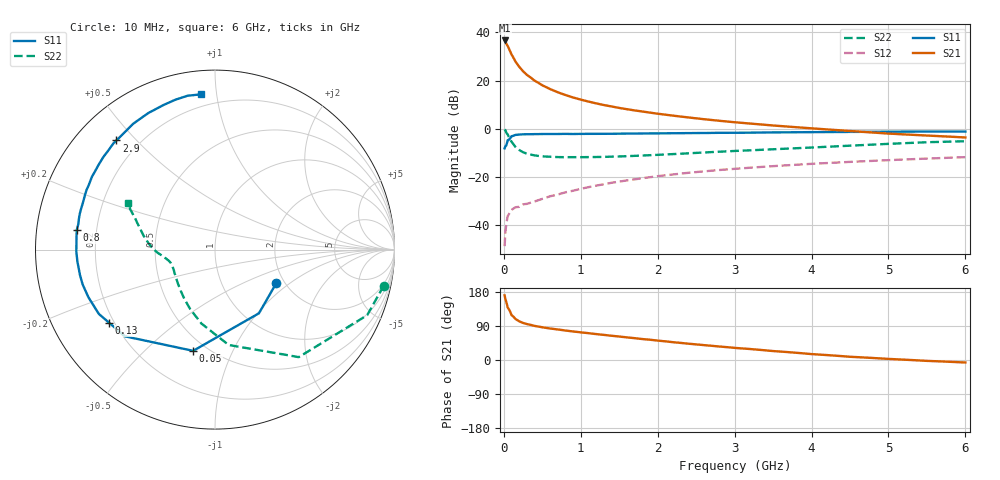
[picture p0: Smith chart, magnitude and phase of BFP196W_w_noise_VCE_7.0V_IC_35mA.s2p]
! Infineon Technologies  Discrete & RF Semiconductors
! BFP196W
! VCE =  7.0 V,  IC =  35 mA
! Common Emitter S-Parameters:  Jan 2017
# GHz  S  MA  R  50
!  f  S11  S21  S12  S22
! GHz  MAG  ANG  MAG  ANG  MAG  ANG  MAG  ANG
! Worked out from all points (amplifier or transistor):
!   77 points, 10 MHz to 6 GHz, reference 50 ohm
!   highest |S21| = 36.7 dB at 10 MHz (marker M1)
!   |S21| within 3 dB of that: start of sweep to 60.42 MHz
!   unconditionally stable (mu >= 1): 821.6 MHz to 3.27 GHz
!   at 130 MHz: K = 0.33, MSG = 31.2 dB, |S12| = -33.1 dB
!   at 2.2 GHz: K = 1.04, MAG = 10.9 dB, |S12| = -19.0 dB
!   at 6 GHz: K = 0.92, MSG = 4.1 dB, |S12| = -11.9 dB
!   lowest NFmin = 1.19 dB at 450 MHz
!   S11 on the Smith chart (normalised r, x): 10 MHz: 1.81, -0.80; 50 MHz: 0.42, -0.72; 130 MHz: 0.18, -0.30; 800 MHz: 0.13, +0.07; 2.9 GHz: 0.12, +0.44; 6 GHz: 0.13, +0.90
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0.01  0.3892 -28.8  68.19 170.7  0.0036 80.0  0.9615 -12.1
0.02  0.4312 -55.4  65.04 160.8  0.0071 73.0  0.9234 -23.3
0.05  0.577 -102.2  52.32 138.6  0.0151 54.5  0.7593 -52.1
0.1  0.6968 -136.1  34.76 118.4  0.0204 42.0  0.5369 -81.8
0.13  0.7168 -145.3  28.8 113.2  0.0221 39.8  0.4604 -91.8
0.15  0.7398 -151.0  25.01 108.4  0.0232 38.5  0.4194 -100.3
0.2  0.7537 -159.4  19.27 102.2  0.0237 38.7  0.3599 -112.5
0.25  0.7626 -165.3  15.63 97.8  0.0267 40.4  0.3231 -121.9
0.3  0.7654 -169.2  13.1 94.8  0.0273 41.2  0.3012 -128.8
0.4  0.7695 -175.0  9.947 89.9  0.0306 45.8  0.2777 -138.8
0.5  0.7727 -179.2  7.974 86.3  0.0347 48.1  0.2654 -145.3
0.6  0.7728 177.5  6.671 83.2  0.0392 51.2  0.2607 -150.0
0.7  0.775 174.6  5.715 80.6  0.0426 54.3  0.2562 -153.5
0.8  0.7779 171.9  5.01 77.8  0.0474 56.2  0.2551 -156.1
1.1  0.7794 165.0  3.658 70.8  0.0607 58.0  0.256 -161.4
1.5  0.7861 157.0  2.697 61.9  0.0791 58.5  0.2643 -166.3
2.1  0.7998 145.5  1.952 49.2  0.1072 56.2  0.2903 -172.3
2.9  0.8195 132.1  1.408 33.9  0.1419 50.6  0.3373 -179.5
3.1  0.8226 129.0  1.318 30.5  0.15 49.0  0.3489 178.5
4.1  0.8476 114.7  0.989 14.3  0.189 41.4  0.4124 167.7
5.1  0.8647 103.9  0.775 1.9  0.2247 33.8  0.4903 157.4
6  0.8685 95.3  0.656 -6.6  0.2555 26.8  0.5477 151.8
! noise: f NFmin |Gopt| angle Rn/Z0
0.45  1.19  0.46  180  0.06
0.9  1.33  0.53  -174  0.06
1.9  2.17  0.68  -151  0.13
2.4  2.57  0.73  -145  0.23
